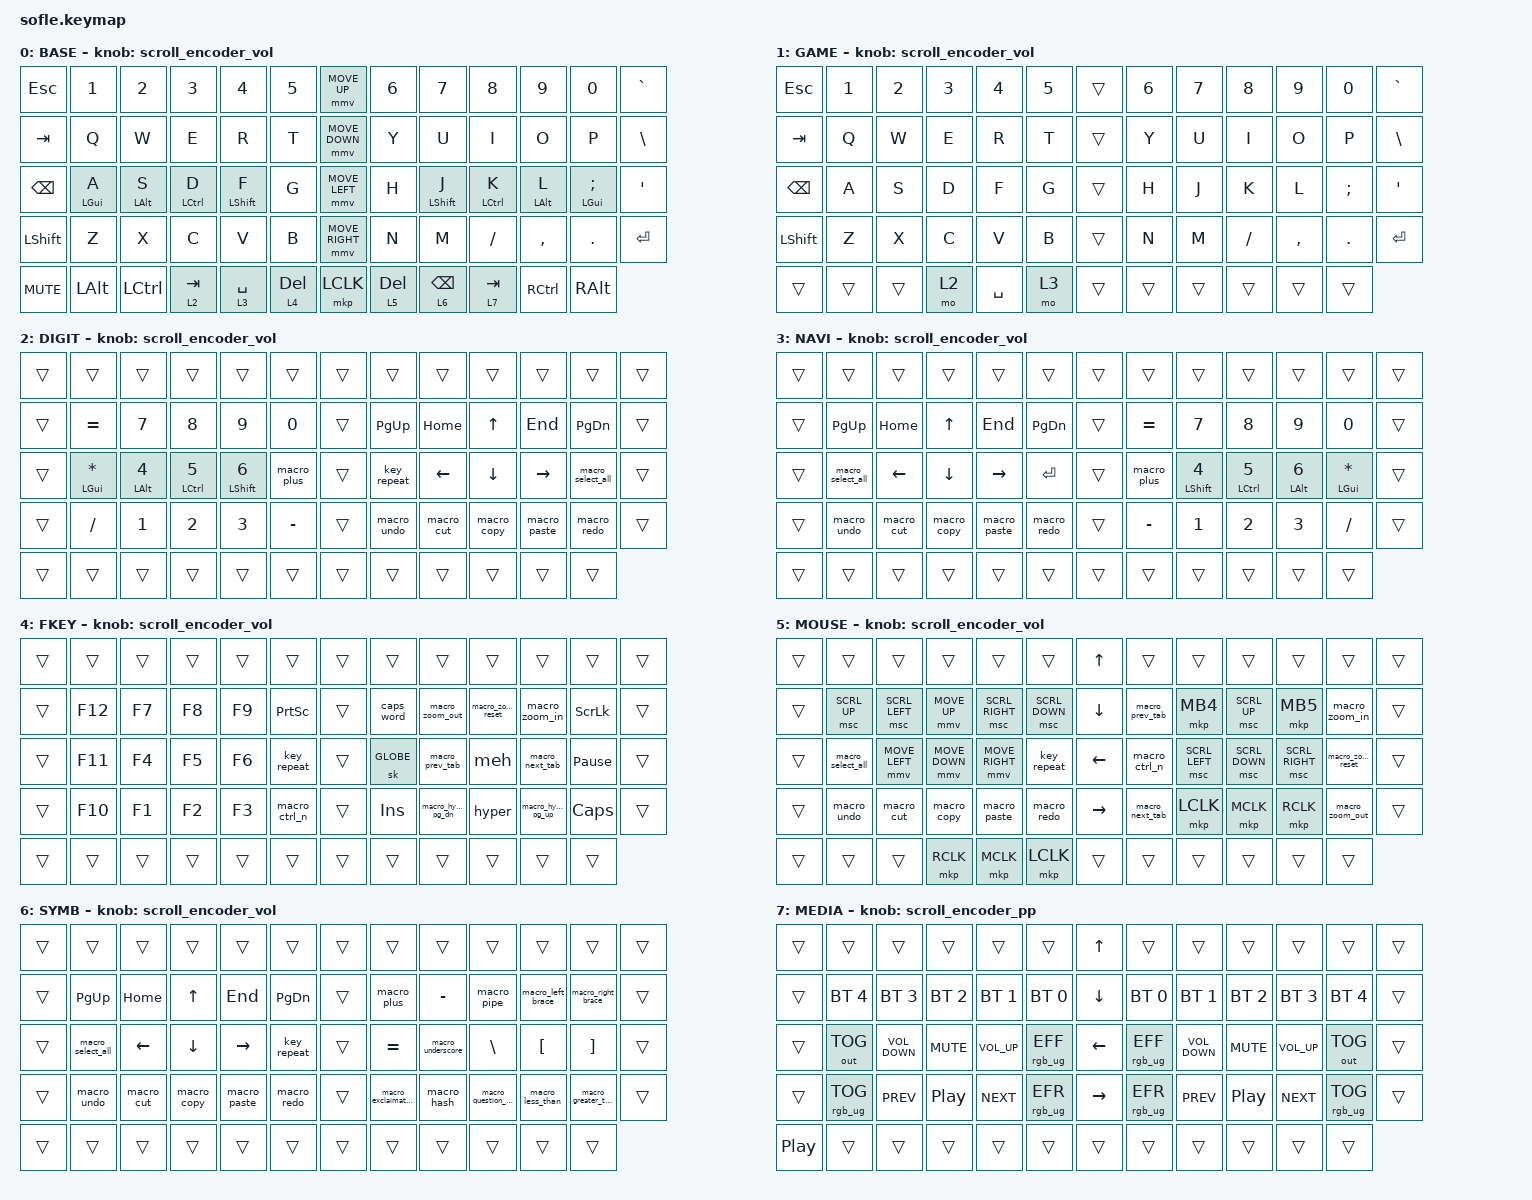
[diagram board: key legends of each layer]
#define ZMK_POINTING_DEFAULT_MOVE_VAL 4200  // default: 600
#define ZMK_POINTING_DEFAULT_SCRL_VAL 30    // default: 10

#include <input/processors.dtsi>
#include <behaviors.dtsi>
#include <dt-bindings/zmk/bt.h>
#include <dt-bindings/zmk/keys.h>
#include <dt-bindings/zmk/outputs.h>
#include <dt-bindings/zmk/pointing.h>
#include <dt-bindings/zmk/rgb.h>

#define COMBO_DEFAULT_TIMEOUT_MS 15
#define COMBO_QUICK_TIMEOUT_MS 10
#define COMBO_PRIOR_IDLE_MS 125

&mmv {
    acceleration-exponent = <1>;      // 1
    time-to-max-speed-ms = <500>;     // 300
    delay-ms = <0>;                   // 0
};

&msc {
    acceleration-exponent = <1>;      // 0
    time-to-max-speed-ms = <40>;      // 300
    delay-ms = <0>;                   // 0
};

/ {
    behaviors {
        td_shift_caps: td_shift_caps {
            compatible = "zmk,behavior-tap-dance";
            #binding-cells = <0>;
            tapping-term-ms = <200>;
            bindings = <&kp LSHFT>, <&kp CAPS>;
        };

        meh: meh_key {
            compatible = "zmk,behavior-macro";
            #binding-cells = <0>;
            bindings =
                <&macro_press>,
                <&kp LCTRL &kp LALT &kp LSHFT>,
                <&macro_pause_for_release>,
                <&macro_release>,
                <&kp LCTRL &kp LALT &kp LSHFT>;
        };

        hyper: hyper_key {
            compatible = "zmk,behavior-macro";
            #binding-cells = <0>;
            bindings =
                <&macro_press>,
                <&kp LCTRL &kp LALT &kp LSHFT &kp LGUI>,
                <&macro_pause_for_release>,
                <&macro_release>,
                <&kp LCTRL &kp LALT &kp LSHFT &kp LGUI>;
        };

        ltkp: ltkp {
            compatible = "zmk,behavior-hold-tap";
            #binding-cells = <2>;
            bindings = <&mo>, <&kp>;

            flavor = "balanced";
            tapping-term-ms = <200>;
            quick-tap-ms = <175>;
            require-prior-idle-ms = <50>;
        };

        hrml: hrml {
            compatible = "zmk,behavior-hold-tap";
            bindings = <&kp>, <&kp>;

            #binding-cells = <2>;
            tapping-term-ms = <250>;
            flavor = "balanced";
            hold-trigger-key-positions = <7 8 9 10 11 12 20 21 22 23 24 25 33 34 35 36 37 38 46 47 48 49 50 51 59 60 61 62 63>;
            quick-tap-ms = <175>;
            require-prior-idle-ms = <150>;
            hold-trigger-on-release;
        };

        hrmr: hrmr {
            compatible = "zmk,behavior-hold-tap";
            bindings = <&kp>, <&kp>;

            #binding-cells = <2>;
            tapping-term-ms = <250>;
            flavor = "balanced";
            quick-tap-ms = <175>;
            require-prior-idle-ms = <150>;
            hold-trigger-on-release;
            hold-trigger-key-positions = <0 1 2 4 5 13 14 15 16 17 18 26 27 28 29 30 31 39 40 41 42 43 44 53 54 55 56 57 3>;
        };

        scroll_encoder_vol: scroll_encoder_vol {
            compatible = "zmk,behavior-sensor-rotate";
            #sensor-binding-cells = <0>;
            bindings = <&kp C_VOLUME_UP>, <&kp C_VOLUME_DOWN>;

            tap-ms = <30>;
        };

        scroll_encoder_pp: scroll_encoder_pp {
            compatible = "zmk,behavior-sensor-rotate";
            #sensor-binding-cells = <0>;
            bindings = <&kp C_PREV>, <&kp C_NEXT>;

            tap-ms = <30>;
        };
    };

    combos {
        compatible = "zmk,combos";

        combo_mouse {
            bindings = <&tog 5>;
            key-positions = <13 39>;
            timeout-ms = <COMBO_DEFAULT_TIMEOUT_MS>;
            require-prior-idle-ms = <COMBO_PRIOR_IDLE_MS>;
        };

        combo_game {
            bindings = <&tog 1>;
            key-positions = <16 42>;
            timeout-ms = <COMBO_DEFAULT_TIMEOUT_MS>;
            require-prior-idle-ms = <COMBO_PRIOR_IDLE_MS>;
        };

        combo_media {
            bindings = <&tog 7>;
            key-positions = <18 44>;
            timeout-ms = <COMBO_DEFAULT_TIMEOUT_MS>;
            require-prior-idle-ms = <COMBO_PRIOR_IDLE_MS>;
        };

        combo_hyper_pg_up {
            bindings = <&macro_hyper_pg_up>;
            key-positions = <30 31>;
            timeout-ms = <COMBO_DEFAULT_TIMEOUT_MS>;
            require-prior-idle-ms = <COMBO_PRIOR_IDLE_MS>;
        };

        combo_less_than {
            bindings = <&macro_less_than>;
            key-positions = <41 42>;
            timeout-ms = <COMBO_DEFAULT_TIMEOUT_MS>;
            require-prior-idle-ms = <COMBO_PRIOR_IDLE_MS>;
        };

        combo_greater_than {
            bindings = <&macro_greater_than>;
            key-positions = <42 43>;
            timeout-ms = <COMBO_DEFAULT_TIMEOUT_MS>;
            require-prior-idle-ms = <COMBO_PRIOR_IDLE_MS>;
        };

        combo_hyper_pg_dn {
            bindings = <&macro_hyper_pg_dn>;
            key-positions = <43 44>;
            timeout-ms = <COMBO_DEFAULT_TIMEOUT_MS>;
            require-prior-idle-ms = <COMBO_PRIOR_IDLE_MS>;
        };

        combo_bt_clear {
            bindings = <&bt BT_CLR>;
            key-positions = <20 46>;
            timeout-ms = <COMBO_DEFAULT_TIMEOUT_MS>;
            require-prior-idle-ms = <COMBO_PRIOR_IDLE_MS>;
        };

        combo_bt_clear_all {
            bindings = <&bt BT_CLR_ALL>;
            key-positions = <25 51>;
            timeout-ms = <COMBO_DEFAULT_TIMEOUT_MS>;
            require-prior-idle-ms = <COMBO_PRIOR_IDLE_MS>;
        };
    };

    macros {
        macro_select_all: macro_select_all {
            compatible = "zmk,behavior-macro";
            #binding-cells = <0>;
            bindings =
                <&macro_press>,
                <&kp LCTRL>,
                <&macro_tap>,
                <&kp A>,
                <&macro_release>,
                <&kp LCTRL>;
        };

        macro_undo: macro_undo {
            compatible = "zmk,behavior-macro";
            #binding-cells = <0>;
            bindings =
                <&macro_press>,
                <&kp LCTRL>,
                <&macro_tap>,
                <&kp Z>,
                <&macro_release>,
                <&kp LCTRL>;
        };

        macro_cut: macro_cut {
            compatible = "zmk,behavior-macro";
            #binding-cells = <0>;
            bindings =
                <&macro_press>,
                <&kp LCTRL>,
                <&macro_tap>,
                <&kp X>,
                <&macro_release>,
                <&kp LCTRL>;
        };

        macro_copy: macro_copy {
            compatible = "zmk,behavior-macro";
            #binding-cells = <0>;
            bindings =
                <&macro_press>,
                <&kp LCTRL>,
                <&macro_tap>,
                <&kp C>,
                <&macro_release>,
                <&kp LCTRL>;
        };

        macro_paste: macro_paste {
            compatible = "zmk,behavior-macro";
            #binding-cells = <0>;
            bindings =
                <&macro_press>,
                <&kp LCTRL>,
                <&macro_tap>,
                <&kp V>,
                <&macro_release>,
                <&kp LCTRL>;
        };

        macro_redo: macro_redo {
            compatible = "zmk,behavior-macro";
            #binding-cells = <0>;
            bindings =
                <&macro_press>,
                <&kp LCTRL>,
                <&macro_tap>,
                <&kp Y>,
                <&macro_release>,
                <&kp LCTRL>;
        };

        macro_plus: macro_plus {
            compatible = "zmk,behavior-macro";
            #binding-cells = <0>;
            bindings =
                <&macro_press>,
                <&kp LSHFT>,
                <&macro_tap>,
                <&kp EQUAL>,
                <&macro_release>,
                <&kp LSHFT>;
        };

        macro_left_brace: macro_left_brace {
            compatible = "zmk,behavior-macro";
            #binding-cells = <0>;
            bindings =
                <&macro_press>,
                <&kp LSHFT>,
                <&macro_tap>,
                <&kp LEFT_BRACKET>,
                <&macro_release>,
                <&kp LSHFT>;
        };

        macro_right_brace: macro_right_brace {
            compatible = "zmk,behavior-macro";
            #binding-cells = <0>;
            bindings =
                <&macro_press>,
                <&kp LSHFT>,
                <&macro_tap>,
                <&kp RIGHT_BRACKET>,
                <&macro_release>,
                <&kp LSHFT>;
        };

        macro_underscore: macro_underscore {
            compatible = "zmk,behavior-macro";
            #binding-cells = <0>;
            bindings =
                <&macro_press>,
                <&kp LSHFT>,
                <&macro_tap>,
                <&kp MINUS>,
                <&macro_release>,
                <&kp LSHFT>;
        };

        macro_percent: macro_percent {
            compatible = "zmk,behavior-macro";
            #binding-cells = <0>;
            bindings =
                <&macro_press>,
                <&kp LSHFT>,
                <&macro_tap>,
                <&kp N5>,
                <&macro_release>,
                <&kp LSHFT>;
        };

        macro_pipe: macro_pipe {
            compatible = "zmk,behavior-macro";
            #binding-cells = <0>;
            bindings =
                <&macro_press>,
                <&kp LSHFT>,
                <&macro_tap>,
                <&kp BSLH>,
                <&macro_release>,
                <&kp LSHFT>;
        };

        macro_exclaimation_mark: macro_exclaimation_mark {
            compatible = "zmk,behavior-macro";
            #binding-cells = <0>;
            bindings =
                <&macro_press>,
                <&kp LSHFT>,
                <&macro_tap>,
                <&kp N1>,
                <&macro_release>,
                <&kp LSHFT>;
        };

        macro_hash: macro_hash {
            compatible = "zmk,behavior-macro";
            #binding-cells = <0>;
            bindings =
                <&macro_press>,
                <&kp LSHFT>,
                <&macro_tap>,
                <&kp N3>,
                <&macro_release>,
                <&kp LSHFT>;
        };

        macro_question_mark: macro_question_mark {
            compatible = "zmk,behavior-macro";
            #binding-cells = <0>;
            bindings =
                <&macro_press>,
                <&kp LSHFT>,
                <&macro_tap>,
                <&kp FSLH>,
                <&macro_release>,
                <&kp LSHFT>;
        };

        macro_less_than: macro_less_than {
            compatible = "zmk,behavior-macro";
            #binding-cells = <0>;
            bindings =
                <&macro_press>,
                <&kp LSHFT>,
                <&macro_tap>,
                <&kp COMMA>,
                <&macro_release>,
                <&kp LSHFT>;
        };

        macro_greater_than: macro_greater_than {
            compatible = "zmk,behavior-macro";
            #binding-cells = <0>;
            bindings =
                <&macro_press>,
                <&kp LSHFT>,
                <&macro_tap>,
                <&kp DOT>,
                <&macro_release>,
                <&kp LSHFT>;
        };

        macro_hyper_pg_up: macro_hyper_pg_up {
            compatible = "zmk,behavior-macro";
            #binding-cells = <0>;
            bindings =
                <&macro_press>,
                <&kp LEFT_WIN &kp LALT &kp LCTRL &kp LSHFT>,
                <&macro_tap>,
                <&kp PG_UP>,
                <&macro_release>,
                <&kp LEFT_WIN &kp LALT &kp LCTRL &kp LSHFT>;
        };

        macro_hyper_pg_dn: macro_hyper_pg_dn {
            compatible = "zmk,behavior-macro";
            #binding-cells = <0>;
            bindings =
                <&macro_press>,
                <&kp LEFT_WIN &kp LALT &kp LCTRL &kp LSHFT>,
                <&macro_tap>,
                <&kp PG_DN>,
                <&macro_release>,
                <&kp LEFT_WIN &kp LALT &kp LCTRL &kp LSHFT>;
        };

        macro_ctrl_n: macro_ctrl_n {
            compatible = "zmk,behavior-macro";
            #binding-cells = <0>;
            bindings =
                <&macro_press>,
                <&kp LCTRL>,
                <&macro_tap>,
                <&kp N>,
                <&macro_release>,
                <&kp LCTRL>;
        };

        macro_prev_tab: macro_prev_tab {
            compatible = "zmk,behavior-macro";
            #binding-cells = <0>;
            bindings =
                <&macro_press>,
                <&kp LCTRL>,
                <&macro_tap>,
                <&kp PG_UP>,
                <&macro_release>,
                <&kp LCTRL>;
        };

        macro_next_tab: macro_next_tab {
            compatible = "zmk,behavior-macro";
            #binding-cells = <0>;
            bindings =
                <&macro_press>,
                <&kp LCTRL>,
                <&macro_tap>,
                <&kp PG_DN>,
                <&macro_release>,
                <&kp LCTRL>;
        };

        macro_zoom_out: macro_zoom_out {
            compatible = "zmk,behavior-macro";
            #binding-cells = <0>;
            bindings =
                <&macro_press>,
                <&kp LCTRL>,
                <&macro_tap>,
                <&kp MINUS>,
                <&macro_release>,
                <&kp LCTRL>;
        };

        macro_zoom_reset: macro_zoom_reset {
            compatible = "zmk,behavior-macro";
            #binding-cells = <0>;
            bindings =
                <&macro_press>,
                <&kp LCTRL>,
                <&macro_tap>,
                <&kp N0>,
                <&macro_release>,
                <&kp LCTRL>;
        };

        macro_zoom_in: macro_zoom_in {
            compatible = "zmk,behavior-macro";
            #binding-cells = <0>;
            bindings =
                <&macro_press>,
                <&kp LCTRL &kp LSHFT>,
                <&macro_tap>,
                <&kp EQUAL>,
                <&macro_release>,
                <&kp LCTRL &kp LSHFT>;
        };
    };

    keymap {
        compatible = "zmk,keymap";

        base_layer {
            bindings = <
&kp ESC     &kp N1        &kp N2        &kp N3         &kp N4         &kp N5         &mmv MOVE_UP     &kp N6       &kp N7         &kp N8         &kp N9        &kp N0           &kp GRAVE
&kp TAB     &kp Q         &kp W         &kp E          &kp R          &kp T          &mmv MOVE_DOWN   &kp Y        &kp U          &kp I          &kp O         &kp P            &kp BSLH
&kp BSPC    &hrml LGUI A  &hrml LALT S  &hrml LCTRL D  &hrml LSHFT F  &kp G          &mmv MOVE_LEFT   &kp H        &hrmr LSHFT J  &hrmr LCTRL K  &hrmr LALT L  &hrmr LGUI SEMI  &kp APOS
&kp LSHFT   &kp Z         &kp X         &kp C          &kp V          &kp B          &mmv MOVE_RIGHT  &kp N        &kp M          &kp SLASH      &kp COMMA     &kp DOT          &kp ENTER
&kp C_MUTE  &kp LEFT_ALT  &kp LCTRL     &ltkp 2 TAB    &ltkp 3 SPACE  &ltkp 4 DEL    &mkp LCLK        &ltkp 5 DEL  &ltkp 6 BSPC   &ltkp 7 TAB    &kp RCTRL     &kp RALT
            >;

            display-name = "BASE";
            sensor-bindings = <&scroll_encoder_vol>;
        };

        game_layer {
            bindings = <
&kp ESC    &kp N1  &kp N2  &kp N3  &kp N4     &kp N5    &trans  &kp N6  &kp N7  &kp N8     &kp N9     &kp N0    &kp GRAVE
&kp TAB    &kp Q   &kp W   &kp E   &kp R      &kp T     &trans  &kp Y   &kp U   &kp I      &kp O      &kp P     &kp BSLH
&kp BSPC   &kp A   &kp S   &kp D   &kp F      &kp G     &trans  &kp H   &kp J   &kp K      &kp L      &kp SEMI  &kp APOS
&kp LSHFT  &kp Z   &kp X   &kp C   &kp V      &kp B     &trans  &kp N   &kp M   &kp SLASH  &kp COMMA  &kp DOT   &kp ENTER
&trans     &trans  &trans  &mo 2   &kp SPACE  &mo 3     &trans  &trans  &trans  &trans     &trans     &trans
            >;

            display-name = "GAME";
            sensor-bindings = <&scroll_encoder_vol>;
        };

        digit_layer {
            bindings = <
&trans  &trans            &trans         &trans          &trans          &trans         &trans  &trans       &trans      &trans       &trans        &trans             &trans
&trans  &kp EQUAL         &kp N7         &kp N8          &kp N9          &kp N0         &trans  &kp PAGE_UP  &kp HOME    &kp UP       &kp END       &kp PAGE_DOWN      &trans
&trans  &hrml LGUI ASTRK  &hrml LALT N4  &hrml LCTRL N5  &hrml LSHFT N6  &macro_plus    &trans  &key_repeat  &kp LEFT    &kp DOWN     &kp RIGHT     &macro_select_all  &trans
&trans  &kp SLASH         &kp N1         &kp N2          &kp N3          &kp MINUS      &trans  &macro_undo  &macro_cut  &macro_copy  &macro_paste  &macro_redo        &trans
&trans  &trans            &trans         &trans          &trans          &trans         &trans  &trans       &trans      &trans       &trans        &trans
            >;

            display-name = "DIGIT";
            sensor-bindings = <&scroll_encoder_vol>;
        };

        navi_layer {
            bindings = <
&trans  &trans             &trans      &trans       &trans        &trans           &trans  &trans       &trans          &trans          &trans         &trans            &trans
&trans  &kp PAGE_UP        &kp HOME    &kp UP       &kp END       &kp PAGE_DOWN    &trans  &kp EQUAL    &kp N7          &kp N8          &kp N9         &kp N0            &trans
&trans  &macro_select_all  &kp LEFT    &kp DOWN     &kp RIGHT     &kp ENTER        &trans  &macro_plus  &hrmr LSHFT N4  &hrmr LCTRL N5  &hrmr LALT N6  &hrmr LGUI ASTRK  &trans
&trans  &macro_undo        &macro_cut  &macro_copy  &macro_paste  &macro_redo      &trans  &kp MINUS    &kp N1          &kp N2          &kp N3         &kp SLASH         &trans
&trans  &trans             &trans      &trans       &trans        &trans           &trans  &trans       &trans          &trans          &trans         &trans
            >;

            display-name = "NAVI";
            sensor-bindings = <&scroll_encoder_vol>;
        };

        fkey_layer {
            bindings = <
&trans  &trans   &trans  &trans  &trans  &trans           &trans  &trans      &trans              &trans             &trans              &trans           &trans
&trans  &kp F12  &kp F7  &kp F8  &kp F9  &kp PSCRN        &trans  &caps_word  &macro_zoom_out     &macro_zoom_reset  &macro_zoom_in      &kp SLCK         &trans
&trans  &kp F11  &kp F4  &kp F5  &kp F6  &key_repeat      &trans  &sk GLOBE   &macro_prev_tab     &meh               &macro_next_tab     &kp PAUSE_BREAK  &trans
&trans  &kp F10  &kp F1  &kp F2  &kp F3  &macro_ctrl_n    &trans  &kp INS     &macro_hyper_pg_dn  &hyper             &macro_hyper_pg_up  &kp CLCK         &trans
&trans  &trans   &trans  &trans  &trans  &trans           &trans  &trans      &trans              &trans             &trans              &trans
            >;

            display-name = "FKEY";
            sensor-bindings = <&scroll_encoder_vol>;
        };

        mouse_layer {
            bindings = <
&trans  &trans             &trans          &trans          &trans           &trans            &kp UP     &trans           &trans          &trans          &trans           &trans             &trans
&trans  &msc SCRL_UP       &msc SCRL_LEFT  &mmv MOVE_UP    &msc SCRL_RIGHT  &msc SCRL_DOWN    &kp DOWN   &macro_prev_tab  &mkp MB4        &msc SCRL_UP    &mkp MB5         &macro_zoom_in     &trans
&trans  &macro_select_all  &mmv MOVE_LEFT  &mmv MOVE_DOWN  &mmv MOVE_RIGHT  &key_repeat       &kp LEFT   &macro_ctrl_n    &msc SCRL_LEFT  &msc SCRL_DOWN  &msc SCRL_RIGHT  &macro_zoom_reset  &trans
&trans  &macro_undo        &macro_cut      &macro_copy     &macro_paste     &macro_redo       &kp RIGHT  &macro_next_tab  &mkp LCLK       &mkp MCLK       &mkp RCLK        &macro_zoom_out    &trans
&trans  &trans             &trans          &mkp RCLK       &mkp MCLK        &mkp LCLK         &trans     &trans           &trans          &trans          &trans           &trans
            >;

            display-name = "MOUSE";
            sensor-bindings = <&scroll_encoder_vol>;
        };

        symb_layer {
            bindings = <
&trans  &trans             &trans      &trans       &trans        &trans         &trans  &trans                    &trans             &trans                &trans             &trans               &trans
&trans  &kp PG_UP          &kp HOME    &kp UP       &kp END       &kp PG_DN      &trans  &macro_plus               &kp MINUS          &macro_pipe           &macro_left_brace  &macro_right_brace   &trans
&trans  &macro_select_all  &kp LEFT    &kp DOWN     &kp RIGHT     &key_repeat    &trans  &kp EQUAL                 &macro_underscore  &kp BSLH              &kp LBKT           &kp RBKT             &trans
&trans  &macro_undo        &macro_cut  &macro_copy  &macro_paste  &macro_redo    &trans  &macro_exclaimation_mark  &macro_hash        &macro_question_mark  &macro_less_than   &macro_greater_than  &trans
&trans  &trans             &trans      &trans       &trans        &trans         &trans  &trans                    &trans             &trans                &trans             &trans
            >;

            display-name = "SYMB";
            sensor-bindings = <&scroll_encoder_vol>;
        };

        media_layer {
            bindings = <
&trans            &trans           &trans             &trans            &trans           &trans             &kp UP     &trans           &trans             &trans            &trans           &trans           &trans
&trans            &bt BT_SEL 4     &bt BT_SEL 3       &bt BT_SEL 2      &bt BT_SEL 1     &bt BT_SEL 0       &kp DOWN   &bt BT_SEL 0     &bt BT_SEL 1       &bt BT_SEL 2      &bt BT_SEL 3     &bt BT_SEL 4     &trans
&trans            &out OUT_TOG     &kp C_VOLUME_DOWN  &kp C_MUTE        &kp C_VOLUME_UP  &rgb_ug RGB_EFF    &kp LEFT   &rgb_ug RGB_EFF  &kp C_VOLUME_DOWN  &kp C_MUTE        &kp C_VOLUME_UP  &out OUT_TOG     &trans
&trans            &rgb_ug RGB_TOG  &kp C_PREV         &kp C_PLAY_PAUSE  &kp C_NEXT       &rgb_ug RGB_EFR    &kp RIGHT  &rgb_ug RGB_EFR  &kp C_PREV         &kp C_PLAY_PAUSE  &kp C_NEXT       &rgb_ug RGB_TOG  &trans
&kp C_PLAY_PAUSE  &trans           &trans             &trans            &trans           &trans             &trans     &trans           &trans             &trans            &trans           &trans
            >;

            display-name = "MEDIA";
            sensor-bindings = <&scroll_encoder_pp>;
        };
    };
};
